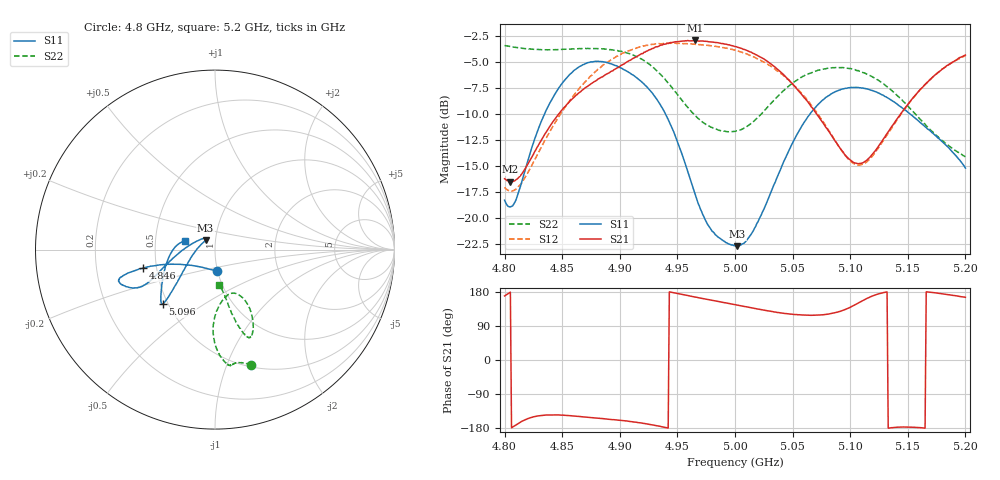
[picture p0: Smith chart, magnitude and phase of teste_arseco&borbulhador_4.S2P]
! Network Analyzer HP8722D
! Hewlett-Packard
! Data name: Linha & Wilkinson
! Saver's name: Rodrigo Anjos
! Comments: Teste da utilização de aquisição
! continua pelo VNA HP8722D
! Time and date: 15/4/2025 15:40
!  Frequency  S11  S21  S12  S22
# HZ  S  MA R 50
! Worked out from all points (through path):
!   401 points, 4.8 GHz to 5.2 GHz, reference 50 ohm
!   highest |S21| = -2.96 dB at 4.965 GHz (marker M1); lowest = -16.5 dB at 4.805 GHz (marker M2)
!   lowest |S11| = -22.7 dB at 5.002 GHz (marker M3), VSWR 1.16, Z = 44.8 + j4.63 ohm
!   |S11| at or under -10 dB: start of sweep to 4.835 GHz; 4.94 GHz to 5.065 GHz (125.6 MHz wide, 2.51 % of centre); 5.152 GHz to end of sweep
!   |S22| runs from -14.1 to -3.5 dB; largest |S21 - S12| = 0.82
!   S11 on the Smith chart (normalised r, x): 4.8 GHz: 0.99, -0.24; 4.846 GHz: 0.42, -0.10; 5.096 GHz: 0.47, -0.34; 5.2 GHz: 0.71, +0.07
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4.8e9  0.1219 -84.9  0.1546 169.1  0.1405 -136.3  0.6721 -72.5
4.805e9  0.1133 -105.4  0.1496 179.0  0.135 -126.2  0.6649 -73.5
4.816e9  0.1563 -145.7  0.1663 -160.3  0.1511 -104.6  0.6518 -75.7
4.83e9  0.2744 -162.6  0.2273 -147.1  0.2096 -89.6  0.6431 -78.2
4.846e9  0.4123 -165.6  0.3108 -144.9  0.3006 -85.0  0.6428 -80.2
4.867e9  0.54 -163.8  0.4094 -149.7  0.4323 -87.4  0.65 -81.9
4.899e9  0.5309 -157.0  0.5285 -158.9  0.6034 -98.9  0.6325 -84.6
4.917e9  0.4594 -153.3  0.6056 -165.5  0.662 -106.6  0.5872 -87.6
4.934e9  0.3584 -156.5  0.6679 -174.5  0.6873 -114.5  0.4968 -90.8
4.947e9  0.2578 -165.9  0.6988 177.4  0.6914 -120.1  0.4114 -91.0
4.965e9  0.1324 165.8  0.7111 166.2  0.6826 -128.1  0.3115 -85.6
4.979e9  0.08867 134.8  0.6996 158.2  0.6707 -134.4  0.2733 -78.3
5e9  0.07377 132.3  0.6647 145.9  0.6403 -144.2  0.2605 -68.3
5.002e9  0.07343 135.6  0.6607 144.8  0.6335 -145.1  0.2626 -67.5
5.015e9  0.08543 164.0  0.6194 137.4  0.5964 -151.3  0.2877 -61.9
5.033e9  0.1408 -161.5  0.5384 127.6  0.5261 -158.9  0.3634 -59.2
5.067e9  0.3259 -136.3  0.3385 118.2  0.3443 -166.3  0.4994 -65.1
5.096e9  0.4194 -134.0  0.2 133.7  0.1986 -149.1  0.5252 -69.0
5.112e9  0.419 -135.7  0.1855 158.5  0.1833 -122.4  0.4975 -71.0
5.134e9  0.3731 -143.3  0.2642 -179.4  0.2604 -98.0  0.4193 -73.9
5.163e9  0.2806 -164.2  0.425 -179.1  0.4269 -95.7  0.2896 -77.1
5.2e9  0.1738 164.3  0.6056 165.4  0.6015 -108.9  0.1968 -82.9
